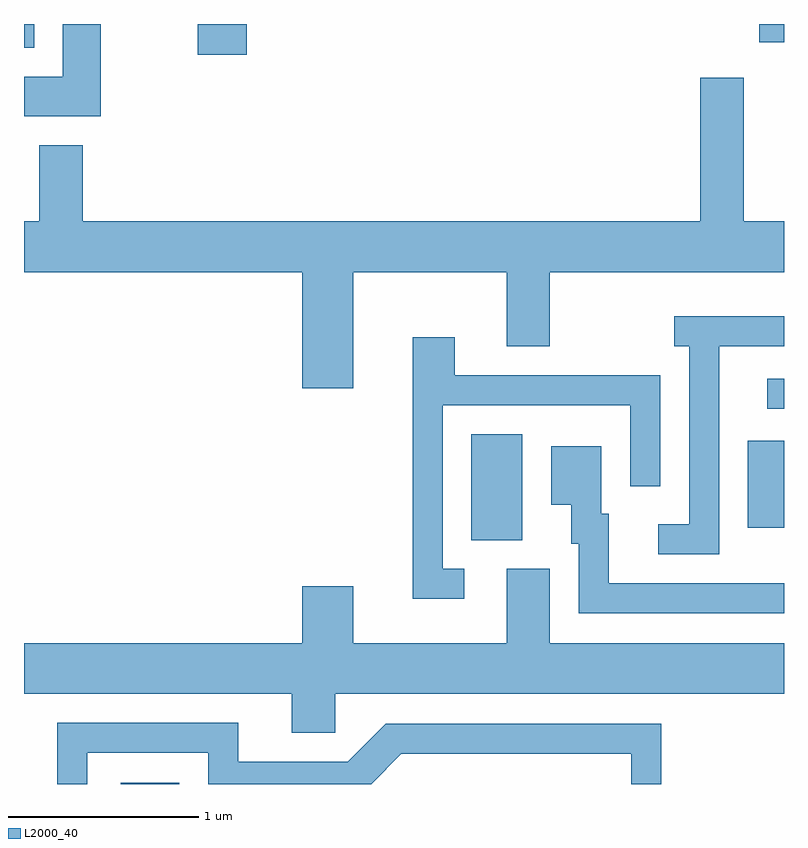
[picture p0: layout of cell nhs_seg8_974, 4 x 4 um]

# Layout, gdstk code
import gdstk
lib = gdstk.Library(unit=1e-6, precision=1e-09)
def R(c, l, rs):  # rectangles x0, y0, x1, y1
    for r in rs: c.add(gdstk.rectangle(r[:2], r[2:], *l))
def P(c, l, *ps):  # polygons
    for p in ps: c.add(gdstk.Polygon(p, *l))
L2000_40 = (2000, 40)

nhs_seg8_974 = lib.new_cell('nhs_seg8_974')
R(nhs_seg8_974, L2000_40, [(214.121,1880.342,214.429,1880.349), (215.966,1881.626,216.234,1882.184), (217.421,1881.691,217.611,1882.149), (217.523,1882.316,217.611,1882.474), (214.526,1884.181,214.784,1884.342), (213.611,1884.216,213.664,1884.342), (217.481,1884.246,217.611,1884.342)])
P(nhs_seg8_974, L2000_40, [(214.014,1884.342),(213.816,1884.342),(213.816,1884.064),(213.611,1884.064),(213.611,1883.856),(214.014,1883.856)],
  [(215.344,1883.036),(216.151,1883.036),(216.151,1882.646),(216.379,1882.646),(216.379,1883.036),(217.611,1883.036),(217.611,1883.304),(217.399,1883.304),(217.399,1884.059),(217.171,1884.059),(217.171,1883.304),(213.919,1883.304),(213.919,1883.704),(213.691,1883.704),(213.691,1883.304),(213.611,1883.304),(213.611,1883.036),(215.076,1883.036),(215.076,1882.426),(215.344,1882.426)],
  [(217.269,1882.646),(217.611,1882.646),(217.611,1882.804),(217.033,1882.804),(217.033,1882.646),(217.111,1882.646),(217.111,1881.709),(216.948,1881.709),(216.948,1881.551),(217.269,1881.551)],
  [(215.928,1881.474),(215.814,1881.474),(215.814,1882.336),(216.801,1882.336),(216.801,1881.908),(216.959,1881.908),(216.959,1882.494),(215.879,1882.494),(215.879,1882.694),(215.656,1882.694),(215.656,1881.316),(215.928,1881.316)],
  [(217.611,1881.399),(216.689,1881.399),(216.689,1881.764),(216.649,1881.764),(216.649,1882.119),(216.386,1882.119),(216.386,1881.811),(216.491,1881.811),(216.491,1881.606),(216.531,1881.606),(216.531,1881.241),(217.611,1881.241)],
  [(215.249,1880.816),(217.611,1880.816),(217.611,1881.084),(216.379,1881.084),(216.379,1881.474),(216.151,1881.474),(216.151,1881.084),(215.344,1881.084),(215.344,1881.384),(215.076,1881.384),(215.076,1881.084),(213.611,1881.084),(213.611,1880.816),(215.021,1880.816),(215.021,1880.611),(215.249,1880.611)],
  [(213.944,1880.506),(214.581,1880.506),(214.581,1880.342),(215.438,1880.342),(215.597,1880.501),(216.806,1880.501),(216.806,1880.342),(216.964,1880.342),(216.964,1880.659),(215.514,1880.659),(215.314,1880.459),(214.739,1880.459),(214.739,1880.664),(213.786,1880.664),(213.786,1880.342),(213.944,1880.342)])

lib.write_gds('nhs_seg8_974.gds')
